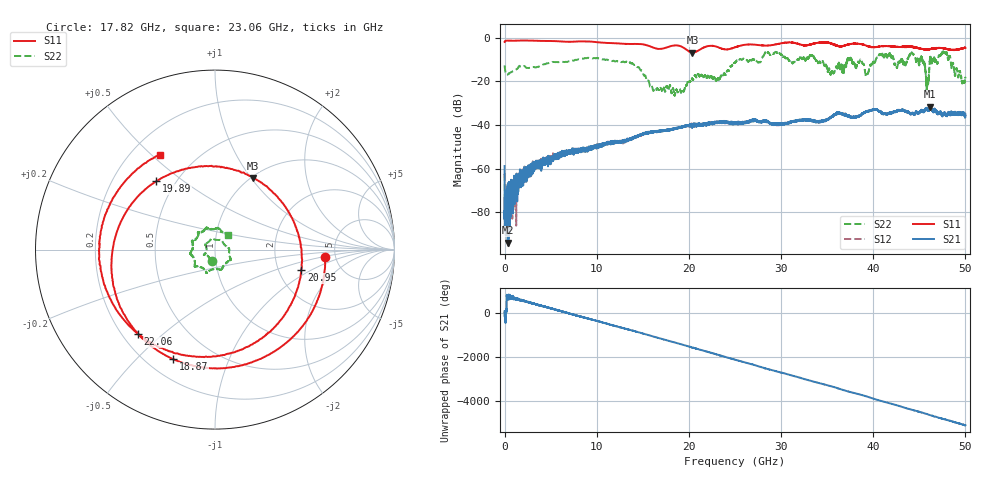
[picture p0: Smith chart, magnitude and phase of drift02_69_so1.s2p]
!Created with skrf (http://scikit-rf.org).
# Hz S RI R 50.0
!freq ReS11 ImS11 ReS21 ImS21 ReS12 ImS12 ReS22 ImS22
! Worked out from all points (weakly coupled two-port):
!   10001 points, 300 kHz to 50 GHz, reference 50 ohm
!   highest |S21| = -31.61 dB at 46.2 GHz (marker M1); lowest = -93.9 dB at 340.3 MHz (marker M2)
!   lowest |S11| = -6.9 dB at 20.38 GHz (marker M3), VSWR 2.64, Z = 50.9 + j51 ohm
!   |S11| at or under -10 dB: nowhere
!   |S22| runs from -26.6 to -6.3 dB; largest |S21 - S12| = 0.0028
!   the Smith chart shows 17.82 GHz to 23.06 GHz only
!   S11 on the Smith chart (normalised r, x): 17.82 GHz: 4.14, -0.53; 18.87 GHz: 0.30, -0.65; 19.89 GHz: 0.39, +0.40; 20.95 GHz: 2.68, -0.81; 22.06 GHz: 0.26, -0.42; 23.06 GHz: 0.31, +0.53
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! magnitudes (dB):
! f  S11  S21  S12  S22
! 300 kHz  -2.1  -58.8  -62.2  -12.7
! 340.3 MHz  -1.4  -93.9  -72.8  -16.9
! 3.055 GHz  -1.4  -59.5  -59.7  -13.5
! 8.335 GHz  -1.7  -51.3  -52.0  -9.7
! 13.7 GHz  -2.9  -46.2  -46.4  -11.7
! 16.67 GHz  -5.2  -43.0  -42.8  -23.8
! 17.82 GHz  -4.2  -42.1  -42.4  -23.5
! 18.87 GHz  -3.7  -41.2  -41.5  -24.3
! 19.89 GHz  -6.0  -40.4  -40.3  -20.0
! 20.38 GHz  -6.9  -40.0  -40.3  -18.8
! 20.95 GHz  -6.1  -39.8  -39.7  -16.9
! 22.06 GHz  -3.9  -39.4  -39.5  -17.4
! 23.06 GHz  -4.3  -38.5  -38.7  -19.1
! 25 GHz  -4.5  -39.3  -39.0  -11.5
! 33.34 GHz  -3.0  -38.3  -37.9  -8.3
! 39.32 GHz  -3.8  -33.9  -33.7  -17.0
! 41.67 GHz  -4.0  -34.6  -34.8  -7.8
! 44.28 GHz  -4.3  -34.6  -34.7  -7.4
! 45.85 GHz  -5.4  -33.0  -33.0  -18.6
! 46.2 GHz  -5.3  -31.6  -31.8  -9.1
! 47.76 GHz  -5.0  -35.1  -34.5  -6.9
! 50 GHz  -4.7  -36.2  -35.7  -18.5
